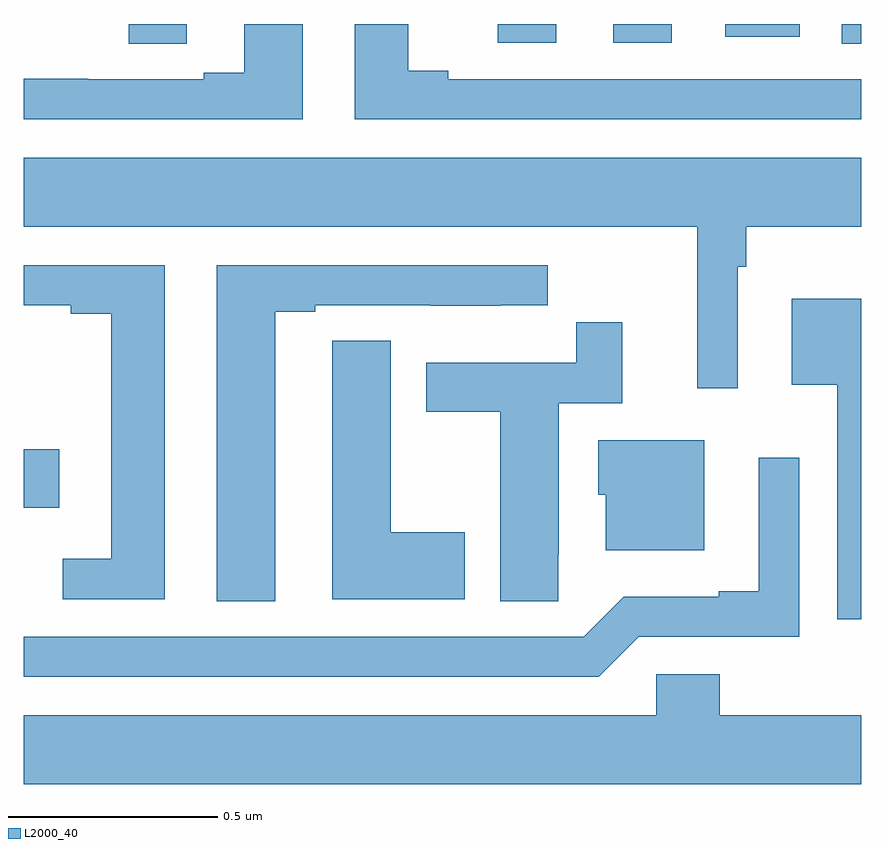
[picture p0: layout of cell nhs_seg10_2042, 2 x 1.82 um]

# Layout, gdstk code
import gdstk
lib = gdstk.Library(unit=1e-6, precision=1e-09)
def R(c, l, rs):  # rectangles x0, y0, x1, y1
    for r in rs: c.add(gdstk.rectangle(r[:2], r[2:], *l))
def P(c, l, *ps):  # polygons
    for p in ps: c.add(gdstk.Polygon(p, *l))
L2000_40 = (2000, 40)

nhs_seg10_2042 = lib.new_cell('nhs_seg10_2042')
R(nhs_seg10_2042, L2000_40, [(136,1266.344,136.084,1266.484), (136.25,1267.453,136.389,1267.5), (137.954,1267.453,138,1267.5), (137.132,1267.455,137.272,1267.5), (137.408,1267.455,137.548,1267.5), (137.676,1267.47,137.854,1267.5)])
P(nhs_seg10_2042, L2000_40, [(136.666,1267.5),(136.526,1267.5),(136.526,1267.383),(136.43,1267.383),(136.43,1267.368),(136.154,1267.368),(136.154,1267.369),(136,1267.369),(136,1267.272),(136.666,1267.272)],
  [(138,1267.368),(137.014,1267.368),(137.014,1267.388),(136.918,1267.388),(136.918,1267.5),(136.79,1267.5),(136.79,1267.272),(138,1267.272)],
  [(137.706,1266.92),(137.726,1266.92),(137.726,1267.016),(138,1267.016),(138,1267.18),(136,1267.18),(136,1267.016),(137.609,1267.016),(137.609,1266.63),(137.706,1266.63)],
  [(136.6,1266.813),(136.696,1266.813),(136.696,1266.828),(136.972,1266.828),(136.972,1266.827),(137.138,1266.827),(137.138,1266.828),(137.251,1266.828),(137.251,1266.924),(136.46,1266.924),(136.46,1266.121),(136.6,1266.121)],
  [(136.336,1266.924),(136,1266.924),(136,1266.828),(136.112,1266.828),(136.112,1266.808),(136.208,1266.808),(136.208,1266.222),(136.092,1266.222),(136.092,1266.126),(136.336,1266.126)],
  [(138,1266.844),(137.834,1266.844),(137.834,1266.638),(137.943,1266.638),(137.943,1266.078),(138,1266.078)],
  [(137.277,1266.232),(137.278,1266.232),(137.278,1266.594),(137.429,1266.594),(137.429,1266.787),(137.32,1266.787),(137.32,1266.69),(136.961,1266.69),(136.961,1266.574),(137.138,1266.574),(137.138,1266.121),(137.277,1266.121)],
  [(137.053,1266.285),(136.876,1266.285),(136.876,1266.743),(136.737,1266.743),(136.737,1266.635),(136.736,1266.635),(136.736,1266.125),(137.053,1266.125)],
  [(137.626,1266.505),(137.372,1266.505),(137.372,1266.375),(137.39,1266.375),(137.39,1266.242),(137.626,1266.242)],
  [(137.469,1266.036),(137.853,1266.036),(137.853,1266.463),(137.756,1266.463),(137.756,1266.145),(137.66,1266.145),(137.66,1266.132),(137.433,1266.132),(137.337,1266.036),(136,1266.036),(136,1265.94),(137.373,1265.94)],
  [(138,1265.848),(137.663,1265.848),(137.663,1265.946),(137.511,1265.946),(137.511,1265.848),(136,1265.848),(136,1265.684),(138,1265.684)])

lib.write_gds('nhs_seg10_2042.gds')
